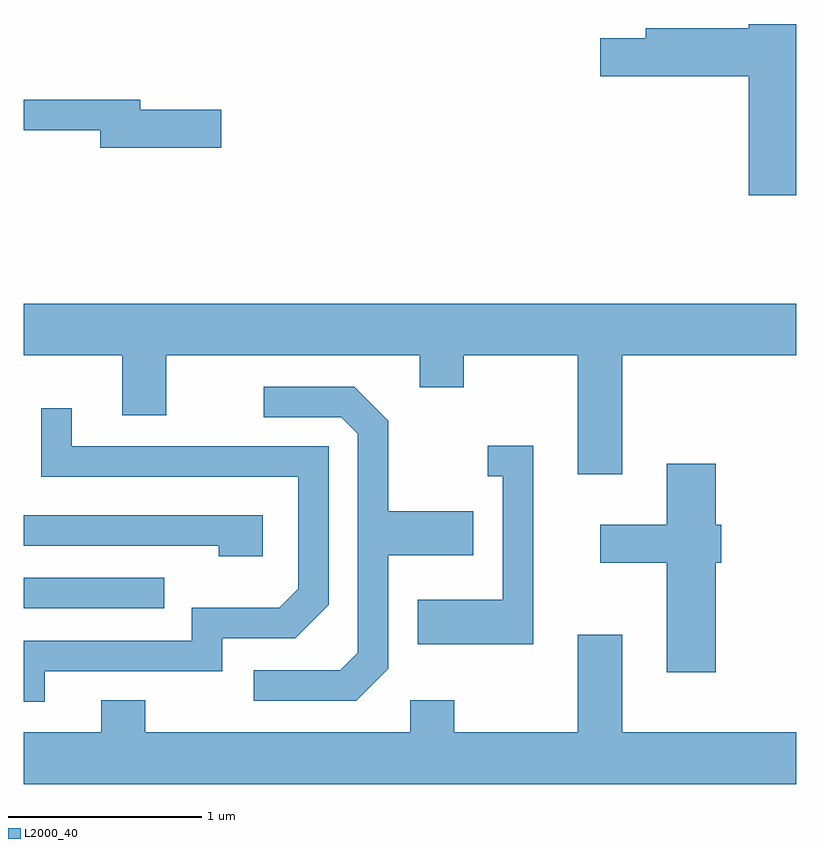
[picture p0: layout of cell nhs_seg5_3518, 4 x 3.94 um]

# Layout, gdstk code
import gdstk
lib = gdstk.Library(unit=1e-6, precision=1e-09)
def R(c, l, rs):  # rectangles x0, y0, x1, y1
    for r in rs: c.add(gdstk.rectangle(r[:2], r[2:], *l))
def P(c, l, *ps):  # polygons
    for p in ps: c.add(gdstk.Polygon(p, *l))
L2000_40 = (2000, 40)

nhs_seg5_3518 = lib.new_cell('nhs_seg5_3518')
R(nhs_seg5_3518, L2000_40, [(289.611,1451.046,290.338,1451.204)])
P(nhs_seg5_3518, L2000_40, [(293.611,1454.072),(293.366,1454.072),(293.366,1454.049),(292.831,1454.049),(292.831,1453.999),(292.596,1453.999),(292.596,1453.801),(293.366,1453.801),(293.366,1453.186),(293.611,1453.186)],
  [(290.634,1453.629),(290.214,1453.629),(290.214,1453.679),(289.611,1453.679),(289.611,1453.521),(290.006,1453.521),(290.006,1453.431),(290.634,1453.431)],
  [(292.709,1452.356),(293.611,1452.356),(293.611,1452.624),(289.611,1452.624),(289.611,1452.356),(290.121,1452.356),(290.121,1452.046),(290.349,1452.046),(290.349,1452.356),(291.661,1452.356),(291.661,1452.191),(291.889,1452.191),(291.889,1452.356),(292.481,1452.356),(292.481,1451.741),(292.709,1451.741)],
  [(291.499,1450.734),(291.499,1451.321),(291.939,1451.321),(291.939,1451.549),(291.499,1451.549),(291.499,1452.017),(291.322,1452.194),(290.853,1452.194),(290.853,1452.036),(291.254,1452.036),(291.341,1451.949),(291.341,1450.817),(291.249,1450.724),(290.803,1450.724),(290.803,1450.566),(291.332,1450.566)],
  [(289.719,1450.721),(290.639,1450.721),(290.639,1450.891),(291.017,1450.891),(291.189,1451.064),(291.189,1451.884),(289.859,1451.884),(289.859,1452.083),(289.701,1452.083),(289.701,1451.726),(291.031,1451.726),(291.031,1451.147),(290.934,1451.049),(290.481,1451.049),(290.481,1450.879),(289.611,1450.879),(289.611,1450.561),(289.719,1450.561)],
  [(292.249,1451.889),(292.013,1451.889),(292.013,1451.731),(292.091,1451.731),(292.091,1451.089),(291.651,1451.089),(291.651,1450.861),(292.249,1450.861)],
  [(293.194,1451.281),(293.224,1451.281),(293.224,1451.479),(293.194,1451.479),(293.194,1451.794),(292.941,1451.794),(292.941,1451.479),(292.596,1451.479),(292.596,1451.281),(292.941,1451.281),(292.941,1450.716),(293.194,1450.716)],
  [(290.849,1451.529),(289.611,1451.529),(289.611,1451.371),(290.621,1451.371),(290.621,1451.316),(290.849,1451.316)],
  [(293.611,1450.404),(292.709,1450.404),(292.709,1450.909),(292.481,1450.909),(292.481,1450.404),(291.839,1450.404),(291.839,1450.569),(291.611,1450.569),(291.611,1450.404),(290.239,1450.404),(290.239,1450.569),(290.011,1450.569),(290.011,1450.404),(289.611,1450.404),(289.611,1450.136),(293.611,1450.136)])

lib.write_gds('nhs_seg5_3518.gds')
